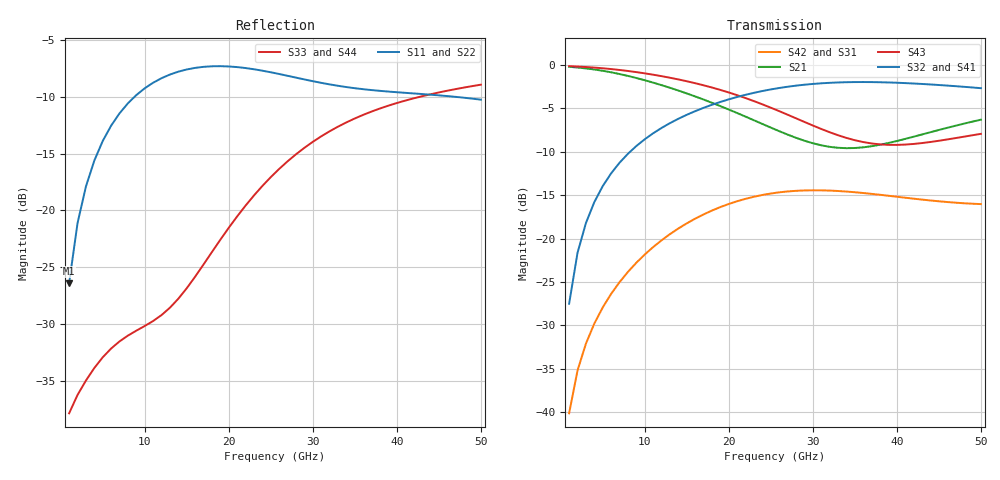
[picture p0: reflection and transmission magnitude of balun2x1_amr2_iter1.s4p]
#  GHZ S DB R 50.0
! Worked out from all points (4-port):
!   50 points, 1 GHz to 50 GHz, reference 50 ohm
!   strongest paths, dB at 1 GHz, 13 GHz, 26 GHz, 38 GHz, 50 GHz:
!     S32: -27.5, -6.7, -2.6, -2.0, -2.7
!     S41: -27.5, -6.7, -2.7, -2.0, -2.7
!     S43: -0.1, -1.5, -5.3, -9.1, -7.9
!     S21: -0.2, -2.6, -7.6, -9.2, -6.3
!     S42: -40.2, -19.5, -14.7, -15.0, -16.0
!     S31: -40.2, -19.6, -14.9, -15.2, -16.1
!   lowest |S11| = -26.4 dB at 1 GHz (marker M1), VSWR 1.10, Z = 52 + j4.47 ohm
!   |S11| at or under -10 dB: start of sweep to 8.764 GHz; 47.16 GHz to end of sweep
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1  -26.41 63.9  -0.19 -5.4  -40.18 -112.1  -27.52 84.4
   -0.19 -5.4  -26.40 63.8  -27.52 84.4  -40.17 -112.2
   -40.18 -112.1  -27.52 84.4  -37.88 17.4  -0.12 -2.7
   -27.52 84.4  -40.17 -112.2  -0.12 -2.7  -37.88 17.4
4  -15.60 61.9  -0.50 -20.2  -29.84 -139.2  -15.80 73.5
   -0.50 -20.2  -15.61 61.6  -15.80 73.5  -29.81 -139.7
   -29.84 -139.2  -15.80 73.5  -33.89 16.1  -0.28 -10.1
   -15.80 73.5  -29.81 -139.7  -0.28 -10.1  -33.89 15.7
9  -9.83 40.1  -1.48 -43.9  -22.85 176.4  -9.33 55.5
   -1.48 -43.9  -9.84 39.6  -9.33 55.4  -22.80 175.7
   -22.85 176.4  -9.33 55.4  -30.59 -21.0  -0.80 -21.8
   -9.33 55.5  -22.80 175.7  -0.80 -21.8  -30.54 -21.6
17  -7.34 8.5  -3.97 -81.3  -17.34 116.4  -4.93 29.8
    -3.97 -81.3  -7.39 7.4  -4.92 29.7  -17.22 115.2
    -17.34 116.4  -4.92 29.7  -24.76 -118.3  -2.32 -38.6
    -4.93 29.8  -17.22 115.2  -2.32 -38.6  -24.55 -118.9
27  -8.13 -17.6  -8.01 -139.8  -14.76 58.3  -2.51 -0.5
    -8.01 -139.8  -8.30 -19.3  -2.49 -0.7  -14.57 56.5
    -14.76 58.3  -2.49 -0.7  -15.67 167.3  -5.72 -51.9
    -2.51 -0.5  -14.57 56.5  -5.72 -51.9  -15.47 167.0
39  -9.52 -30.9  -8.98 130.1  -15.27 13.0  -2.03 -33.4
    -8.98 130.1  -9.87 -32.1  -2.00 -33.7  -15.07 9.9
    -15.27 13.0  -2.00 -33.7  -10.76 116.9  -9.20 -37.9
    -2.03 -33.4  -15.07 9.9  -9.20 -37.9  -10.58 116.4
50  -10.24 -45.3  -6.29 79.0  -16.10 -7.2  -2.70 -57.1
    -6.29 79.0  -10.60 -46.0  -2.66 -57.6  -16.03 -11.4
    -16.10 -7.2  -2.66 -57.6  -8.91 89.0  -7.93 -27.4
    -2.70 -57.1  -16.03 -11.4  -7.93 -27.4  -8.75 88.1
